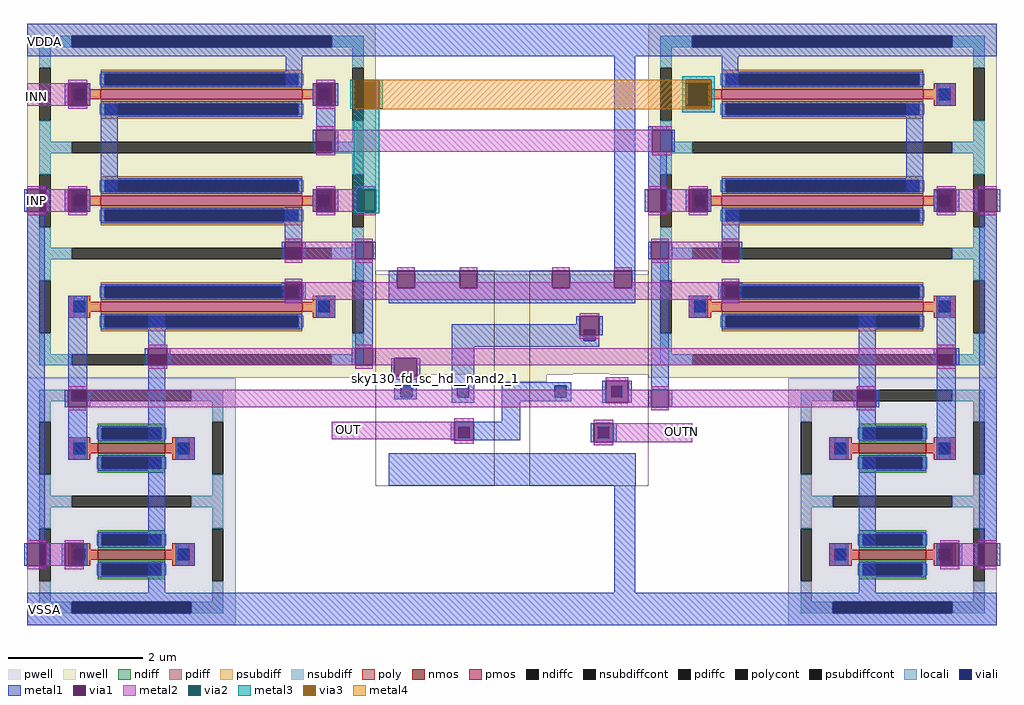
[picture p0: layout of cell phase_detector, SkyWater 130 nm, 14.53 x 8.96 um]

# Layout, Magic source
magic
tech sky130A
magscale 1 2
<< nwell >>
rect -136 930 674 1226
rect -136 927 450 930
rect 560 927 674 930
rect 199 905 372 927
<< viali >>
rect -1042 1902 -268 1936
rect 806 1902 1580 1936
rect 483 1027 517 1061
rect -62 859 -28 893
rect 106 859 140 893
rect 396 859 430 893
rect 564 859 598 893
rect 109 737 143 771
rect 525 737 559 771
rect -1042 216 -686 250
rect 1224 216 1580 250
<< metal1 >>
rect -1174 1936 1712 1972
rect -1174 1902 -1042 1936
rect -268 1902 806 1936
rect 1580 1902 1712 1936
rect -1174 1875 1712 1902
rect -1062 1728 -1052 1794
rect -996 1728 -986 1794
rect -405 1782 -355 1875
rect -1184 1412 -1174 1478
rect -1118 1412 -1108 1478
rect -1062 1412 -1052 1478
rect -996 1412 -986 1478
rect -955 1466 -905 1740
rect -324 1728 -314 1794
rect -258 1728 -248 1794
rect -314 1656 -258 1728
rect -324 1590 -314 1656
rect -258 1590 -248 1656
rect -1174 424 -1122 1412
rect -407 1322 -355 1425
rect -324 1412 -314 1478
rect -258 1412 -248 1478
rect -417 1270 -407 1322
rect -355 1270 -345 1322
rect -208 1270 -198 1322
rect -146 1270 -136 1322
rect -1052 882 -996 1162
rect -417 1150 -407 1202
rect -355 1150 -345 1202
rect -814 1006 -764 1108
rect -314 1096 -258 1162
rect -198 1006 -146 1270
rect 573 1236 636 1875
rect 786 1728 796 1794
rect 852 1728 862 1794
rect 893 1782 943 1875
rect 674 1656 730 1666
rect 674 1590 687 1656
rect 744 1590 754 1656
rect 674 1478 730 1590
rect 664 1412 674 1478
rect 730 1412 740 1478
rect 786 1412 796 1478
rect 852 1412 862 1478
rect 1443 1466 1493 1740
rect 1534 1728 1590 1794
rect 893 1322 945 1424
rect 1524 1412 1534 1478
rect 1590 1412 1600 1478
rect 1646 1412 1656 1478
rect 1712 1412 1722 1478
rect 674 1270 684 1322
rect 736 1270 746 1322
rect 883 1270 893 1322
rect 945 1270 955 1322
rect -98 1184 -72 1236
rect -20 1184 113 1236
rect 165 1184 389 1236
rect 441 1184 573 1236
rect 625 1184 636 1236
rect -98 1140 636 1184
rect 461 1077 471 1100
rect 90 1044 471 1077
rect 529 1044 539 1100
rect 90 1027 483 1044
rect 517 1027 529 1044
rect 90 1010 529 1027
rect -824 954 -814 1006
rect -758 954 -748 1006
rect -208 954 -198 1006
rect -146 954 -136 1006
rect -1062 830 -1052 882
rect -996 830 -986 882
rect -1052 674 -996 830
rect -814 728 -764 954
rect -91 922 -81 976
rect -14 922 -4 976
rect -81 893 -14 922
rect -81 859 -62 893
rect -28 859 -14 893
rect -81 853 -14 859
rect 90 893 157 1010
rect 90 859 106 893
rect 140 859 157 893
rect 90 843 157 859
rect 238 893 446 904
rect 238 859 396 893
rect 430 859 446 893
rect 238 848 446 859
rect 238 787 294 848
rect 538 843 548 909
rect 615 843 625 909
rect 684 882 736 1270
rect 796 1096 852 1162
rect 883 1150 893 1202
rect 945 1150 955 1202
rect 1302 882 1352 1108
rect 1534 1006 1590 1162
rect 1524 954 1534 1006
rect 1590 954 1600 1006
rect 674 830 684 882
rect 736 830 746 882
rect 1286 830 1296 882
rect 1352 830 1362 882
rect -1184 358 -1174 424
rect -1118 358 -1108 424
rect -1072 358 -1062 424
rect -1006 358 -996 424
rect -814 412 -764 686
rect -732 674 -676 740
rect 87 731 97 787
rect 155 731 294 787
rect 503 726 513 782
rect 571 726 581 782
rect -98 596 637 692
rect 1214 674 1270 740
rect 1302 728 1352 830
rect -814 277 -764 370
rect -732 358 -676 424
rect 573 277 636 596
rect 1214 358 1270 424
rect 1302 412 1352 686
rect 1534 674 1590 954
rect 1660 424 1712 1412
rect 1302 277 1352 368
rect 1534 358 1544 424
rect 1600 358 1610 424
rect 1646 358 1656 424
rect 1712 358 1722 424
rect -1174 250 1712 277
rect -1174 216 -1042 250
rect -686 216 1224 250
rect 1580 216 1712 250
rect -1174 180 1712 216
<< via1 >>
rect -1052 1728 -996 1794
rect -1174 1412 -1118 1478
rect -1052 1412 -996 1478
rect -314 1728 -258 1794
rect -314 1590 -258 1656
rect -314 1412 -258 1478
rect -407 1270 -355 1322
rect -198 1270 -146 1322
rect -407 1150 -355 1202
rect 796 1728 852 1794
rect 687 1590 744 1656
rect 674 1412 730 1478
rect 796 1412 852 1478
rect 1534 1412 1590 1478
rect 1656 1412 1712 1478
rect 684 1270 736 1322
rect 893 1270 945 1322
rect -72 1184 -20 1236
rect 113 1184 165 1236
rect 389 1184 441 1236
rect 573 1184 625 1236
rect 471 1061 529 1100
rect 471 1044 483 1061
rect 483 1044 517 1061
rect 517 1044 529 1061
rect -814 954 -758 1006
rect -198 954 -146 1006
rect -1052 830 -996 882
rect -81 922 -14 976
rect 548 893 615 909
rect 548 859 564 893
rect 564 859 598 893
rect 598 859 615 893
rect 548 843 615 859
rect 893 1150 945 1202
rect 1534 954 1590 1006
rect 684 830 736 882
rect 1296 830 1352 882
rect -1174 358 -1118 424
rect -1062 358 -1006 424
rect 97 771 155 787
rect 97 737 109 771
rect 109 737 143 771
rect 143 737 155 771
rect 97 731 155 737
rect 513 771 571 782
rect 513 737 525 771
rect 525 737 559 771
rect 559 737 571 771
rect 513 726 571 737
rect 1544 358 1600 424
rect 1656 358 1712 424
<< metal2 >>
rect -1052 1794 -996 1804
rect -1174 1728 -1052 1794
rect -1052 1718 -996 1728
rect -314 1794 -258 1804
rect -314 1718 -258 1728
rect 796 1794 852 1804
rect 796 1718 852 1728
rect -314 1656 -258 1666
rect 687 1656 744 1666
rect -258 1590 687 1656
rect -314 1580 -258 1590
rect 687 1580 744 1590
rect -1174 1478 -1118 1488
rect -1052 1478 -996 1488
rect -1118 1412 -1052 1478
rect -1174 1402 -1118 1412
rect -1052 1402 -996 1412
rect -314 1478 -258 1488
rect -192 1478 -136 1488
rect -258 1412 -192 1478
rect -314 1402 -258 1412
rect -192 1402 -136 1412
rect 674 1478 730 1488
rect 796 1478 852 1488
rect 730 1412 796 1478
rect 674 1402 730 1412
rect 796 1402 852 1412
rect 1534 1478 1590 1488
rect 1656 1478 1712 1488
rect 1590 1412 1656 1478
rect 1534 1402 1590 1412
rect 1656 1402 1712 1412
rect -407 1322 -355 1332
rect -198 1322 -146 1332
rect -355 1270 -198 1322
rect -407 1260 -355 1270
rect -198 1260 -146 1270
rect 684 1322 736 1332
rect 893 1322 945 1332
rect 736 1270 893 1322
rect 684 1260 736 1270
rect 893 1260 945 1270
rect -72 1236 -20 1246
rect -407 1202 -355 1212
rect -355 1184 -72 1202
rect 113 1236 165 1246
rect -20 1184 113 1202
rect 389 1236 441 1246
rect 165 1184 389 1202
rect 573 1236 625 1246
rect 441 1184 573 1202
rect 893 1202 945 1212
rect 625 1184 893 1202
rect -355 1150 893 1184
rect -407 1140 -355 1150
rect 893 1140 945 1150
rect 471 1100 529 1110
rect 471 1034 529 1044
rect -814 1006 -758 1016
rect -198 1006 -146 1016
rect 1534 1006 1590 1016
rect -758 954 -198 1006
rect -146 976 1534 1006
rect -146 954 -81 976
rect -814 944 -758 954
rect -198 944 -146 954
rect -14 954 1534 976
rect 1534 944 1590 954
rect -81 912 -14 922
rect 548 909 615 919
rect -1052 882 -996 892
rect -996 843 548 882
rect 684 882 736 892
rect 1296 882 1352 892
rect 615 843 684 882
rect -996 830 684 843
rect 736 830 1296 882
rect -1052 820 -996 830
rect 684 820 736 830
rect 1296 820 1352 830
rect 97 787 155 797
rect -268 735 97 787
rect 97 721 155 731
rect 513 782 571 792
rect 571 726 806 782
rect 513 716 571 726
rect -1174 424 -1118 434
rect -1062 424 -1006 434
rect -1118 358 -1062 424
rect -1174 348 -1118 358
rect -1062 348 -1006 358
rect 1544 424 1600 434
rect 1656 424 1712 434
rect 1600 358 1656 424
rect 1544 348 1600 358
rect 1656 348 1712 358
<< via2 >>
rect 796 1728 852 1794
rect -192 1412 -136 1478
<< metal3 >>
rect 776 1804 872 1815
rect -212 1718 -202 1804
rect -126 1718 -116 1804
rect 776 1718 786 1804
rect 862 1718 872 1804
rect -202 1478 -126 1718
rect 776 1708 872 1718
rect -202 1412 -192 1478
rect -136 1412 -126 1478
rect -202 1407 -126 1412
<< via3 >>
rect -202 1718 -126 1804
rect 786 1794 862 1804
rect 786 1728 796 1794
rect 796 1728 852 1794
rect 852 1728 862 1794
rect 786 1718 862 1728
<< metal4 >>
rect -203 1804 863 1805
rect -203 1718 -202 1804
rect -126 1718 786 1804
rect 862 1718 863 1804
rect -203 1717 863 1718
use sky130_fd_sc_hd__nand2_1  sky130_fd_sc_hd__nand2_1_0 $PDKPATH/libs.ref/sky130_fd_sc_hd/mag
transform 1 0 -98 0 1 644
box -38 -48 314 592
use sky130_fd_sc_hd__nand2_1  sky130_fd_sc_hd__nand2_1_1
transform 1 0 360 0 1 644
box -38 -48 314 592
use sky130_fd_pr__pfet_01v8_R8XU9D  XM1
transform 0 1 -655 -1 0 1761
box -211 -519 211 519
use sky130_fd_pr__pfet_01v8_R8XU9D  XM2
transform 0 -1 -655 1 0 1445
box -211 -519 211 519
use sky130_fd_pr__pfet_01v8_R8XU9D  XM3
transform 0 1 1193 -1 0 1761
box -211 -519 211 519
use sky130_fd_pr__pfet_01v8_R8XU9D  XM4
transform 0 1 1193 -1 0 1445
box -211 -519 211 519
use sky130_fd_pr__pfet_01v8_R8XU9D  XM5
transform 0 1 -655 -1 0 1129
box -211 -519 211 519
use sky130_fd_pr__nfet_01v8_TGNW9T  XM6
transform 0 -1 -864 1 0 707
box -211 -310 211 310
use sky130_fd_pr__nfet_01v8_TGNW9T  XM7
transform 0 1 -864 -1 0 391
box -211 -310 211 310
use sky130_fd_pr__pfet_01v8_R8XU9D  XM8
transform 0 1 1193 -1 0 1129
box -211 -519 211 519
use sky130_fd_pr__nfet_01v8_TGNW9T  XM9
transform 0 1 1402 -1 0 707
box -211 -310 211 310
use sky130_fd_pr__nfet_01v8_TGNW9T  XM10
transform 0 1 1402 -1 0 391
box -211 -310 211 310
<< labels >>
flabel metal1 -1152 1887 -1096 1953 0 FreeSans 800 0 0 0 VDDA
port 0 nsew
flabel metal1 -1152 193 -1096 259 0 FreeSans 800 0 0 0 VSSA
port 1 nsew
flabel metal2 -1166 1739 -1130 1769 0 FreeSans 800 0 0 0 INN
port 2 nsew
flabel via1 -1166 1429 -1130 1459 0 FreeSans 800 0 0 0 INP
port 3 nsew
flabel metal2 -237 749 -201 779 0 FreeSans 800 0 0 0 OUT
port 4 nsew
flabel metal2 761 743 787 769 0 FreeSans 800 0 0 0 OUTN
port 6 nsew
<< end >>

# cell sky130_fd_pr__pfet_01v8_R8XU9D: kit device sky130_fd_pr__pfet_01v8, w 3.0 l 0.15 m 1 nf 1 diffcov 100 polycov 100 guard 1 glc 1 grc 1 gtc 1 gbc 1 tbcov 100 rlcov 100 topc 1 botc 1 poverlap 0 doverlap 1 lmin 0.15 wmin 0.42 class mosfet compatible {sky130_fd_pr__pfet_01v8 sky130_fd_pr__pfet_01v8_lvt sky130_fd_pr__pfet_01v8_hvt sky130_fd_pr__pfet_g5v0d10v5} full_metal 1 viasrc 100 viadrn 100 viagate 100 viagb 0 viagr 0 viagl 0 viagt 0 ad {int((nf+1)/2) * W/nf * 0.29} as {int((nf+2)/2) * W/nf * 0.29} pd {2*int((nf+1)/2) * (W/nf + 0.29)} ps {2*int((nf+2)/2) * (W/nf + 0.29)} nrd {0.29 / W} nrs {0.29 / W} sa 0 sb 0 sd 0 mult 1

# cell sky130_fd_pr__nfet_01v8_TGNW9T: kit device sky130_fd_pr__nfet_01v8, w 1.0 l 0.15 m 1 nf 1 diffcov 100 polycov 100 guard 1 glc 1 grc 1 gtc 1 gbc 1 tbcov 100 rlcov 100 topc 1 botc 1 poverlap 0 doverlap 1 lmin 0.15 wmin 0.42 class mosfet compatible {sky130_fd_pr__nfet_01v8 sky130_fd_pr__nfet_01v8_lvt sky130_fd_bs_flash__special_sonosfet_star sky130_fd_pr__nfet_g5v0d10v5 sky130_fd_pr__nfet_05v0_nvt sky130_fd_pr__nfet_03v3_nvt} full_metal 1 viasrc 100 viadrn 100 viagate 100 viagb 0 viagr 0 viagl 0 viagt 0 ad {int((nf+1)/2) * W/nf * 0.29} as {int((nf+2)/2) * W/nf * 0.29} pd {2*int((nf+1)/2) * (W/nf + 0.29)} ps {2*int((nf+2)/2) * (W/nf + 0.29)} nrd {0.29 / W} nrs {0.29 / W} sa 0 sb 0 sd 0 mult 1
